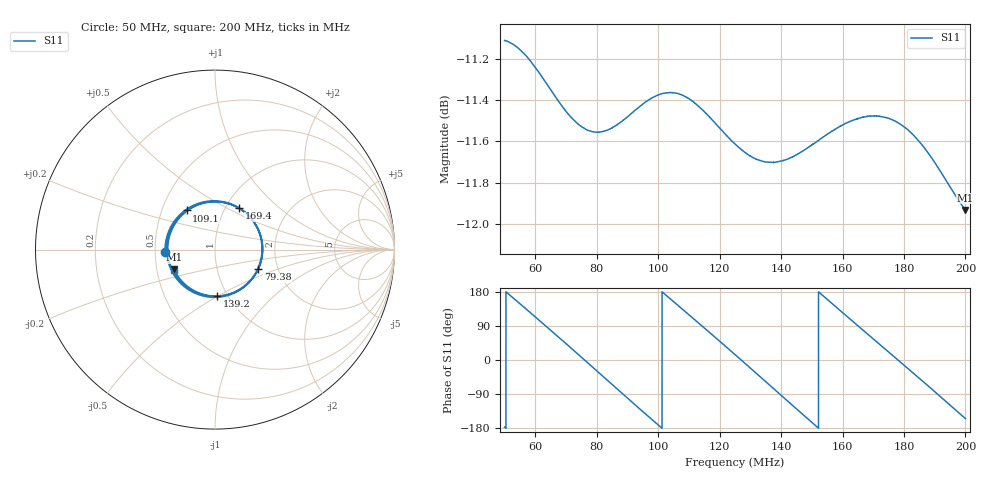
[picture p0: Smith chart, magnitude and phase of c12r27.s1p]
! COPPER MOUNTAIN TECHNOLOGIES, PLANAR TR1300/1, 00071119, 20.2.2/1.0
! Date: 12/11/2023 3:13:43 PM
! Data: Format [Calibration Info]
! Freq  S11: Re/Im F1
# HZ S RI R 50
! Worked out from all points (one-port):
!   12288 points, 50 MHz to 200 MHz, reference 50 ohm
!   lowest |S11| = -11.9 dB at 200 MHz (marker M1), VSWR 1.68, Z = 30.8 - j7.16 ohm
!   |S11| at or under -10 dB: start of sweep to end of sweep
!   S11 on the Smith chart (normalised r, x): 50 MHz: 0.56, -0.02; 79.38 MHz: 1.58, -0.37; 109.1 MHz: 0.67, +0.31; 139.2 MHz: 0.90, -0.50; 169.4 MHz: 1.16, +0.57; 200 MHz: 0.62, -0.14
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5e7  -0.2779 -0.0144
5.479775e7  -0.2393 0.1395
6.027916e7  -0.1014 0.2545
6.446651e7  0.0358 0.2688
6.875153e7  0.1648 0.2117
7.420851e7  0.2587 0.0599
7.938472e7  0.2409 -0.109
8.750305e7  0.0329 -0.2638
9.236185e7  -0.1239 -0.2372
9.783104e7  -0.2464 -0.109
1.01994e8  -0.2691 0.0244
1.062546e8  -0.2221 0.1539
1.090502e8  -0.1581 0.2184
1.165704e8  0.075 0.256
1.250061e8  0.2545 0.0649
1.313787e8  0.223 -0.1348
1.391674e8  0.0132 -0.2597
1.437576e8  -0.1305 -0.2258
1.485676e8  -0.2363 -0.1134
1.529381e8  -0.2623 0.0245
1.573574e8  -0.213 0.1572
1.625092e8  -0.0804 0.2536
1.693945e8  0.134 0.2307
1.755595e8  0.2544 0.079
1.812607e8  0.2451 -0.1001
1.862171e8  0.144 -0.2193
1.905876e8  0.0119 -0.2593
2e8  -0.2285 -0.1089
